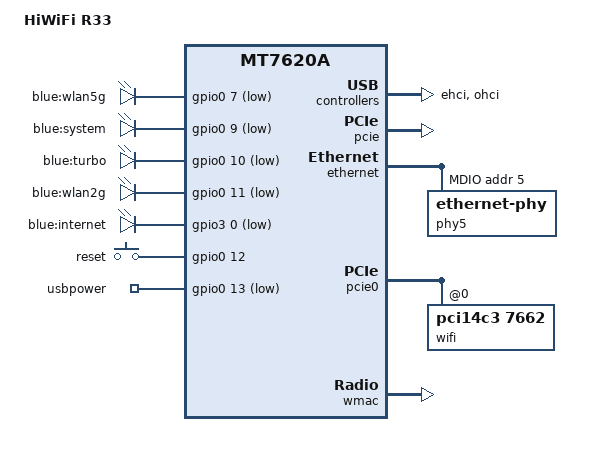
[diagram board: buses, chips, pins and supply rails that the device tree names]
#include "mt7620a.dtsi"

#include <dt-bindings/gpio/gpio.h>
#include <dt-bindings/input/input.h>

/ {
	compatible = "hiwifi,r33", "ralink,mt7620a-soc";
	model = "HiWiFi R33";

	chosen {
		bootargs = "console=ttyS0,115200";
	};

	aliases {
		led-boot = &led_system;
		led-failsafe = &led_system;
		led-running = &led_system;
		led-upgrade = &led_system;
	};

	nand {
		status = "okay";
		#address-cells = <1>;
		#size-cells = <1>;
		compatible = "mtk,mt7620-nand";

		partitions {
			compatible = "fixed-partitions";
			#address-cells = <1>;
			#size-cells = <1>;

			partition@0 {
				label = "u-boot";
				reg = <0x0 0x80000>;
				read-only;
			};

			partition@80000 {
				label = "debug";
				reg = <0x80000 0x80000>;
				read-only;
			};

			factory: partition@100000 {
				label = "factory";
				reg = <0x100000 0x40000>;
				read-only;
			};

			partition@140000 {
				label = "kernel";
				reg = <0x140000 0x400000>;
			};

			ubiconcat0: partition@540000 {
				label = "ubiconcat0";
				reg = <0x540000 0x1c80000>;
			};

			partition@21c0000 {
				label = "bdinfo";
				reg = <0x21c0000 0x80000>;
				read-only;
			};

			ubiconcat1: partition@2240000 {
				label = "ubiconcat1";
				reg = <0x2240000 0x5dc0000>;
			};
		};
	};

	ubi-concat {
		compatible = "mtd-concat";
		devices = <&ubiconcat0 &ubiconcat1>;

		partitions {
			compatible = "fixed-partitions";
			#address-cells = <1>;
			#size-cells = <1>;

			partition@0 {
				label = "ubi";
				reg = <0x0 0x7a40000>;
			};
		};
	};

	leds {
		compatible = "gpio-leds";

		wlan5g {
			label = "blue:wlan5g";
			gpios = <&gpio0 7 GPIO_ACTIVE_LOW>;
			linux,default-trigger = "phy0tpt";
		};

		led_system: system {
			label = "blue:system";
			gpios = <&gpio0 9 GPIO_ACTIVE_LOW>;
		};

		turbo {
			label = "blue:turbo";
			gpios = <&gpio0 10 GPIO_ACTIVE_LOW>;
			linux,default-trigger = "none";
		};

		wlan2g {
			label = "blue:wlan2g";
			gpios = <&gpio0 11 GPIO_ACTIVE_LOW>;
			linux,default-trigger = "phy1tpt";
		};

		internet {
			label = "blue:internet";
			gpios = <&gpio3 0 GPIO_ACTIVE_LOW>;
		};
	};

	keys {
		compatible = "gpio-keys";

		reset {
			label = "reset";
			gpios = <&gpio0 12 GPIO_ACTIVE_HIGH>;
			linux,code = <KEY_RESTART>;
		};
	};

	gpio_export {
		compatible = "gpio-export";
		#size-cells = <0>;

		usbpower {
			gpio-export,name = "usbpower";
			gpio-export,output = <0>;
			gpios = <&gpio0 13 GPIO_ACTIVE_LOW>;
		};
	};

	rtl8367rb {
		compatible = "realtek,rtl8367b", "rtl8367b";
		cpu_port = <6>;
		realtek,extif1 = <1 0 1 1 1 1 1 1 2>;
		mii-bus = <&mdio0>;
	};
};

//在最新的openwrt master分支中sysc已经被剔除，此处进行备份标记
// &sysc {
// 	ralink,gpiomux = "i2c", "jtag";
// 	ralink,uartmux = "gpio";
// 	ralink,wdtmux = <1>;
// };

&gpio3 {
	status = "okay";
};

&ehci {
	status = "okay";
};

&ohci {
	status = "okay";
};

&pcie {
	status = "okay";
};

&ethernet {
	pinctrl-names = "default";
	pinctrl-0 = <&rgmii1_pins &rgmii2_pins &mdio_pins>;

	//mtd-mac-address = <&factory 0x4>;

	nvmem-cells = <&macaddr_factory_4>;
	nvmem-cell-names = "mac-address";

	port@5 {
		status = "okay";
		mediatek,fixed-link = <1000 1 1 1>;
		phy-handle = <&phy5>;
		phy-mode = "rgmii";
	};

	mdio0: mdio-bus {
		status = "okay";

		phy5: ethernet-phy@5 {
			reg = <5>;
			phy-mode = "rgmii";
		};
	};
};

//5G WIFI
&pcie0 {
	wifi@0,0 {
		compatible = "pci14c3,7662";
		reg = <0x0000 0 0 0 0>;
		mediatek,mtd-eeprom = <&factory 0x8000>;
		ieee80211-freq-limit = <5000000 6000000>;
		// nvmem-cells = <&macaddr_factory_4>;
		// nvmem-cell-names = "mac-address";
		// mac-address-increment = <2>;
	};
};

//2.4G WIFI
&wmac {
	pinctrl-names = "default", "pa_gpio";
	pinctrl-0 = <&pa_pins>;
	pinctrl-1 = <&pa_gpio_pins>;
	ralink,mtd-eeprom = <&factory 0x0>;
	// nvmem-cells = <&macaddr_factory_4>;
	// nvmem-cell-names = "mac-address";
};

&state_default {
	gpio {
		groups = "uartf", "wled";
		function = "gpio";
	};
};

&factory {
	compatible = "nvmem-cells";
	#address-cells = <1>;
	#size-cells = <1>;

	macaddr_factory_4: macaddr@4 {
		reg = <0x4 0x6>;
	};
};
